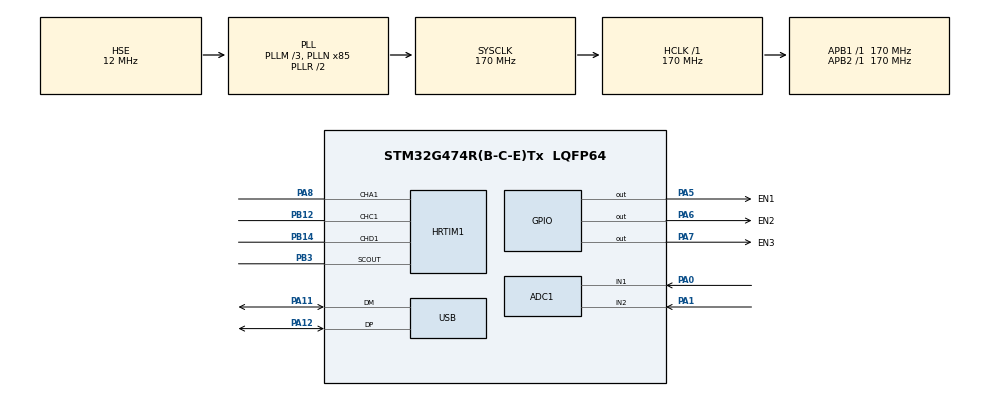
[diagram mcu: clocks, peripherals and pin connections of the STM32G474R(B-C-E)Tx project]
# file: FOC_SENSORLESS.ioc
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ADC1.Channel-0\#ChannelRegularConversion=ADC_CHANNEL_1
ADC1.Channel-1\#ChannelRegularConversion=ADC_CHANNEL_2
ADC1.Channel-4\#ChannelRegularConversion=ADC_CHANNEL_VREFINT
ADC1.EnableInjectedConversion=ENABLE
ADC1.EnableInjectedOversampling=DISABLE
ADC1.ExternalTrigInjecConv=ADC_EXTERNALTRIGINJEC_HRTIM_TRG4
ADC1.InjNumberOfConversion=2
ADC1.InjectedChannel-3\#ChannelInjectedConversion=ADC_CHANNEL_1
ADC1.InjectedChannel-5\#ChannelInjectedConversion=ADC_CHANNEL_2
ADC1.InjectedOffsetNumber-3\#ChannelInjectedConversion=ADC_OFFSET_NONE
ADC1.InjectedOffsetNumber-5\#ChannelInjectedConversion=ADC_OFFSET_NONE
ADC1.InjectedRank-3\#ChannelInjectedConversion=1
ADC1.InjectedRank-5\#ChannelInjectedConversion=2
ADC1.InjectedSamplingTime-3\#ChannelInjectedConversion=ADC_SAMPLETIME_12CYCLES_5
ADC1.InjectedSamplingTime-5\#ChannelInjectedConversion=ADC_SAMPLETIME_12CYCLES_5
ADC1.NbrOfConversion=3
ADC1.NbrOfConversionFlag=1
ADC1.OffsetNumber-0\#ChannelRegularConversion=ADC_OFFSET_NONE
ADC1.OffsetNumber-1\#ChannelRegularConversion=ADC_OFFSET_NONE
ADC1.OffsetNumber-4\#ChannelRegularConversion=ADC_OFFSET_NONE
ADC1.Rank-0\#ChannelRegularConversion=1
ADC1.Rank-1\#ChannelRegularConversion=2
ADC1.Rank-4\#ChannelRegularConversion=3
ADC1.Rank2_Channel=ADC_CHANNEL_2
ADC1.Rank3_Channel=ADC_CHANNEL_1
ADC1.SamplingTime-0\#ChannelRegularConversion=ADC_SAMPLETIME_47CYCLES_5
ADC1.SamplingTime-1\#ChannelRegularConversion=ADC_SAMPLETIME_47CYCLES_5
ADC1.SamplingTime-4\#ChannelRegularConversion=ADC_SAMPLETIME_47CYCLES_5
ADC1.master=1
Dma.ADC1.0.Direction=DMA_PERIPH_TO_MEMORY
Dma.ADC1.0.EventEnable=DISABLE
Dma.ADC1.0.Instance=DMA1_Channel1
Dma.ADC1.0.MemDataAlignment=DMA_MDATAALIGN_HALFWORD
Dma.ADC1.0.MemInc=DMA_MINC_ENABLE
Dma.ADC1.0.Mode=DMA_NORMAL
Dma.ADC1.0.PeriphDataAlignment=DMA_PDATAALIGN_HALFWORD
Dma.ADC1.0.PeriphInc=DMA_PINC_DISABLE
Dma.ADC1.0.Polarity=HAL_DMAMUX_REQ_GEN_RISING
Dma.ADC1.0.Priority=DMA_PRIORITY_LOW
Dma.ADC1.0.RequestNumber=1
Dma.ADC1.0.SignalID=NONE
Dma.ADC1.0.SyncEnable=DISABLE
Dma.ADC1.0.SyncPolarity=HAL_DMAMUX_SYNC_NO_EVENT
Dma.ADC1.0.SyncRequestNumber=1
Dma.ADC1.0.SyncSignalID=NONE
Dma.Request0=ADC1
HRTIM1.ADCTrigger4_Source1=HRTIM_ADCTRIGGEREVENT24_MASTER_PERIOD
HRTIM1.ADCTrigger4_Source2=HRTIM_ADCTRIGGEREVENT24_MASTER_PERIOD
HRTIM1.ADCTrigger_Id1=__NULL
HRTIM1.ADCTrigger_Id2=__NULL
HRTIM1.ADCTrigger_Id4=HRTIM_ADCTRIGGER_4
HRTIM1.Adrom_TA=HRTIM_TIM_ADROM_VALLEY
HRTIM1.Adrom_TC=HRTIM_TIM_ADROM_VALLEY
HRTIM1.Adrom_TD=HRTIM_TIM_ADROM_VALLEY
HRTIM1.CompareUnit1-MasterTimer=HRTIM_COMPAREUNIT_1
HRTIM1.CompareUnit1-Output_TA1=HRTIM_COMPAREUNIT_1
HRTIM1.CompareUnit1-Output_TC1=HRTIM_COMPAREUNIT_1
HRTIM1.CompareUnit1-Output_TD1=HRTIM_COMPAREUNIT_1
HRTIM1.CompareValue1-MasterTimer=10
HRTIM1.CompareValue1-Output_TA1=1000
HRTIM1.CompareValue1-Output_TC1=1000
HRTIM1.CompareValue1-Output_TD1=1000
HRTIM1.ModeTimeBase-Output_TA1=HRTIM_MODE_CONTINUOUS
HRTIM1.ModeTimeBase-Output_TC1=HRTIM_MODE_CONTINUOUS
HRTIM1.ModeTimeBase-Output_TD1=HRTIM_MODE_CONTINUOUS
HRTIM1.NumberADCTriggerSource4=2
HRTIM1.NumberResetSource1-Output_TA1=0
HRTIM1.NumberResetSource1-Output_TC1=0
HRTIM1.NumberResetSource1-Output_TD1=0
HRTIM1.NumberResetTrigger-Output_TA1=1
HRTIM1.NumberResetTrigger-Output_TC1=1
HRTIM1.NumberResetTrigger-Output_TD1=1
HRTIM1.NumberSetSource1-Output_TA1=1
HRTIM1.NumberSetSource1-Output_TC1=1
HRTIM1.NumberSetSource1-Output_TD1=1
HRTIM1.Outrom_TA=HRTIM_TIM_OUTROM_VALLEY
HRTIM1.Outrom_TC=HRTIM_TIM_OUTROM_VALLEY
HRTIM1.Outrom_TD=HRTIM_TIM_OUTROM_VALLEY
HRTIM1.Periode_MASTER=34000
HRTIM1.Periode_TA=34000
HRTIM1.Periode_TC=34000
HRTIM1.Periode_TD=34000
HRTIM1.Polarity1-Output_TA1=HRTIM_OUTPUTPOLARITY_HIGH
HRTIM1.Polarity1-Output_TC1=HRTIM_OUTPUTPOLARITY_HIGH
HRTIM1.Polarity1-Output_TD1=HRTIM_OUTPUTPOLARITY_HIGH
HRTIM1.PreloadEnable-Output_TA1=HRTIM_PRELOAD_ENABLED
HRTIM1.PreloadEnable-Output_TC1=HRTIM_PRELOAD_ENABLED
HRTIM1.PreloadEnable-Output_TD1=HRTIM_PRELOAD_ENABLED
HRTIM1.PrescalerRatio_MASTER=HRTIM_PRESCALERRATIO_MUL4
HRTIM1.PrescalerRatio_TA=HRTIM_PRESCALERRATIO_MUL8
HRTIM1.PrescalerRatio_TC=HRTIM_PRESCALERRATIO_MUL8
HRTIM1.PrescalerRatio_TD=HRTIM_PRESCALERRATIO_MUL8
HRTIM1.RepetitionUpdate-MasterTimer=HRTIM_UPDATEONREPETITION_ENABLED
HRTIM1.RepetitionUpdate-Output_TA1=HRTIM_UPDATEONREPETITION_ENABLED
HRTIM1.RepetitionUpdate-Output_TC1=HRTIM_UPDATEONREPETITION_ENABLED
HRTIM1.RepetitionUpdate-Output_TD1=HRTIM_UPDATEONREPETITION_ENABLED
HRTIM1.ResetTrigger1-Output_TA1=HRTIM_TIMRESETTRIGGER_MASTER_PER
HRTIM1.ResetTrigger1-Output_TC1=HRTIM_TIMRESETTRIGGER_MASTER_PER
HRTIM1.ResetTrigger1-Output_TD1=HRTIM_TIMRESETTRIGGER_MASTER_PER
HRTIM1.SetOutput1_Source1-Output_TA1=HRTIM_OUTPUTSET_TIMCMP1
HRTIM1.SetOutput1_Source1-Output_TC1=HRTIM_OUTPUTSET_TIMCMP1
HRTIM1.SetOutput1_Source1-Output_TD1=HRTIM_OUTPUTSET_TIMCMP1
HRTIM1.SyncOptions=HRTIM_SYNCOPTION_MASTER
HRTIM1.SyncOutputPolarity=HRTIM_SYNCOUTPUTPOLARITY_POSITIVE
HRTIM1.SyncOutputSource=HRTIM_SYNCOUTPUTSOURCE_MASTER_CMP1
HRTIM1.UpDownMode-Output_TA1=HRTIM_TIMERUPDOWNMODE_UPDOWN
HRTIM1.UpDownMode-Output_TC1=HRTIM_TIMERUPDOWNMODE_UPDOWN
HRTIM1.UpDownMode-Output_TD1=HRTIM_TIMERUPDOWNMODE_UPDOWN
HRTIM1.rom_TA=HRTIM_TIM_ROM_VALLEY
HRTIM1.rom_TC=HRTIM_TIM_ROM_VALLEY
HRTIM1.rom_TD=HRTIM_TIM_ROM_VALLEY
Mcu.Family=STM32G4
Mcu.Name=STM32G474R(B-C-E)Tx
Mcu.Package=LQFP64
NVIC.ADC1_2_IRQn=true\:0\:0\:false\:false\:true\:true\:true\:true
NVIC.DMA1_Channel1_IRQn=true\:2\:0\:true\:false\:true\:false\:true\:true
NVIC.PriorityGroup=NVIC_PRIORITYGROUP_4
NVIC.USB_LP_IRQn=true\:0\:0\:false\:false\:true\:false\:true\:true
PA0.Mode=IN1-Single-Ended
PA0.Signal=ADC1_IN1
PA1.Mode=IN2-Single-Ended
PA1.Signal=ADC1_IN2
PA11.Mode=Device
PA11.Signal=USB_DM
PA12.Mode=Device
PA12.Signal=USB_DP
PA13.Mode=Serial_Wire
PA13.Signal=SYS_JTMS-SWDIO
PA14.Mode=Serial_Wire
PA14.Signal=SYS_JTCK-SWCLK
PA5.GPIO_Label=EN1
PA5.Signal=GPIO_Output
PA6.GPIO_Label=EN2
PA6.Signal=GPIO_Output
PA7.GPIO_Label=EN3
PA7.Signal=GPIO_Output
PA8.Mode=Output_TA1
PA8.Signal=HRTIM1_CHA1
PB12.Mode=Output_TC1
PB12.Signal=HRTIM1_CHC1
PB14.Mode=Output_TD1
PB14.Signal=HRTIM1_CHD1
PB3.Mode=SCOUTmode
PB3.Signal=HRTIM1_SCOUT
PC14-OSC32_IN.Mode=LSE-External-Oscillator
PC14-OSC32_IN.Signal=RCC_OSC32_IN
PC15-OSC32_OUT.Mode=LSE-External-Oscillator
PC15-OSC32_OUT.Signal=RCC_OSC32_OUT
PF0-OSC_IN.Mode=HSE-External-Oscillator
PF0-OSC_IN.Signal=RCC_OSC_IN
PF1-OSC_OUT.Mode=HSE-External-Oscillator
PF1-OSC_OUT.Signal=RCC_OSC_OUT
ProjectManager.HeapSize=0x200
ProjectManager.StackSize=0x400
ProjectManager.TargetToolchain=CMake
RCC.ADC12Freq_Value=170000000
RCC.ADC345Freq_Value=170000000
RCC.AHBFreq_Value=170000000
RCC.APB1Freq_Value=170000000
RCC.APB1TimFreq_Value=170000000
RCC.APB2Freq_Value=170000000
RCC.APB2TimFreq_Value=170000000
RCC.CK48CLockSelection=RCC_USBCLKSOURCE_HSI48
RCC.CortexFreq_Value=170000000
RCC.EXTERNAL_CLOCK_VALUE=12288000
RCC.HCLKFreq_Value=170000000
RCC.HSE_VALUE=12000000
RCC.HSI48_VALUE=48000000
RCC.HSI_VALUE=16000000
RCC.PLLM=RCC_PLLM_DIV3
RCC.PLLN=85
RCC.PLLSourceVirtual=RCC_PLLSOURCE_HSE
RCC.SYSCLKFreq_VALUE=170000000
RCC.SYSCLKSource=RCC_SYSCLKSOURCE_PLLCLK
RCC.USBFreq_Value=48000000
RCC.VCOOutputFreq_Value=340000000
STMicroelectronics.X-CUBE-ALGOBUILD.1.4.0.LibraryCcDSPOoLibraryJjDSPOoLibrary=true
USB_DEVICE.CLASS_NAME_FS=CDC
USB_DEVICE.VirtualMode=Cdc
USB_DEVICE.VirtualModeFS=Cdc_FS
VP_ADC1_Vref_Input.Mode=IN-Vrefint
VP_CORDIC_VS_CORDIC.Mode=CORDIC_Activate
VP_HRTIM1_VS_hrtimMasterTimerNoOutput.Mode=MasterTimer
VP_STMicroelectronics.X-CUBE-ALGOBUILD_VS_DSPOoLibraryJjLibrary_1.4.0_1.4.0.Mode=DSPOoLibraryJjLibrary
VP_SYS_VS_DBSignals.Mode=DisableDeadBatterySignals
VP_USB_DEVICE_VS_USB_DEVICE_CDC_FS.Mode=CDC_FS
board=custom

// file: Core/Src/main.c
/* USER CODE BEGIN Header */
/**
  ******************************************************************************
  * @file           : main.c
  * @brief          : Main program body
  ******************************************************************************
  * @attention
  *
  * Copyright (c) 2025 STMicroelectronics.
  * All rights reserved.
  *
  * This software is licensed under terms that can be found in the LICENSE file
  * in the root directory of this software component.
  * If no LICENSE file comes with this software, it is provided AS-IS.
  *
  ******************************************************************************
  */
/* USER CODE END Header */
#include "main.h"
#include "adc.h"
#include "cordic.h"
#include "dma.h"
#include "hrtim.h"
#include "usb_device.h"
#include "gpio.h"

/* USER CODE BEGIN Includes */
#include <sys/types.h>

#include "other.h"
#include "PMSM_Control_Core/SVPWM.h"
#include "PMSM_Control_Core/Clarke_Park.h"
#include "PMSM_Control_Core/EKF.h"
#include "PMSM_Control_Core/PI_Controller.h"
#include "PMSM_Control_Core/Hardware.h"
#include "PMSM_Control_Core/FluxObserver_PLL.h"
/* USER CODE END Includes */

void SystemClock_Config(void);

int main(void)
{

  /* MCU Configuration--------------------------------------------------------*/

  /* Reset of all peripherals, Initializes the Flash interface and the Systick. */
  HAL_Init();

  /* Configure the system clock */
  SystemClock_Config();

  /* Initialize all configured peripherals */
  MX_GPIO_Init();
  MX_DMA_Init();
  MX_CORDIC_Init();
  MX_HRTIM1_Init();
  MX_ADC1_Init();
  MX_USB_Device_Init();
  /* USER CODE BEGIN 2 */

  //初始化EKF
  EKF_init();
  //初始化FluxObserver
  FluxObserver_init();
  //ADC单端输入校准
  __HAL_RCC_ADC12_CLK_ENABLE();
  if (HAL_ADCEx_Calibration_Start(&hadc1, ADC_SINGLE_ENDED) != HAL_OK)Error_Handler();
  //离线Ia,Ib,Vcc偏置ADC值校正
  Offline_IabVcc_Adjust();

  //给定D轴电流为0(事实上自动初始化为0，不需要人为给定)
  Id_PIstate.Set=0;
  //开启注入转换结束标志
  LL_ADC_EnableIT_JEOS(ADC1);
  // 启动ADC注入通道
  HAL_ADCEx_InjectedStart(&hadc1);

  //开启定时器
  HAL_HRTIM_WaveformCountStart(&hhrtim1,HRTIM_TIMERID_MASTER
    |HRTIM_TIMERID_TIMER_A|HRTIM_TIMERID_TIMER_C|HRTIM_TIMERID_TIMER_D);
  //开启通道输出，给定一个零矢量占空比
  HAL_HRTIM_WaveformOutputStart(&hhrtim1,
    HRTIM_OUTPUT_TA1|HRTIM_OUTPUT_TC1|HRTIM_OUTPUT_TD1);
  SVPWM_Calculate_Set(0,0,0,0,0);
  // EN引脚使能
  HAL_GPIO_WritePin(EN1_GPIO_Port,EN1_Pin,GPIO_PIN_SET);
  HAL_GPIO_WritePin(EN2_GPIO_Port,EN2_Pin,GPIO_PIN_SET);
  HAL_GPIO_WritePin(EN3_GPIO_Port,EN3_Pin,GPIO_PIN_SET);
  //测试：
  GiveESpeed(1000);
  /* USER CODE END 2 */

  /* Infinite loop */
  while (1)
  {

  }
}

void SystemClock_Config(void)
{
  RCC_OscInitTypeDef RCC_OscInitStruct = {0};
  RCC_ClkInitTypeDef RCC_ClkInitStruct = {0};

  /** Configure the main internal regulator output voltage
  */
  HAL_PWREx_ControlVoltageScaling(PWR_REGULATOR_VOLTAGE_SCALE1_BOOST);

  /** Initializes the RCC Oscillators according to the specified parameters
  * in the RCC_OscInitTypeDef structure.
  */
  RCC_OscInitStruct.OscillatorType = RCC_OSCILLATORTYPE_HSI48|RCC_OSCILLATORTYPE_HSE;
  RCC_OscInitStruct.HSEState = RCC_HSE_ON;
  RCC_OscInitStruct.HSI48State = RCC_HSI48_ON;
  RCC_OscInitStruct.PLL.PLLState = RCC_PLL_ON;
  RCC_OscInitStruct.PLL.PLLSource = RCC_PLLSOURCE_HSE;
  RCC_OscInitStruct.PLL.PLLM = RCC_PLLM_DIV3;
  RCC_OscInitStruct.PLL.PLLN = 85;
  RCC_OscInitStruct.PLL.PLLP = RCC_PLLP_DIV2;
  RCC_OscInitStruct.PLL.PLLQ = RCC_PLLQ_DIV2;
  RCC_OscInitStruct.PLL.PLLR = RCC_PLLR_DIV2;
  if (HAL_RCC_OscConfig(&RCC_OscInitStruct) != HAL_OK)
  {
    Error_Handler();
  }

  /** Initializes the CPU, AHB and APB buses clocks
  */
  RCC_ClkInitStruct.ClockType = RCC_CLOCKTYPE_HCLK|RCC_CLOCKTYPE_SYSCLK
                              |RCC_CLOCKTYPE_PCLK1|RCC_CLOCKTYPE_PCLK2;
  RCC_ClkInitStruct.SYSCLKSource = RCC_SYSCLKSOURCE_PLLCLK;
  RCC_ClkInitStruct.AHBCLKDivider = RCC_SYSCLK_DIV1;
  RCC_ClkInitStruct.APB1CLKDivider = RCC_HCLK_DIV1;
  RCC_ClkInitStruct.APB2CLKDivider = RCC_HCLK_DIV1;

  if (HAL_RCC_ClockConfig(&RCC_ClkInitStruct, FLASH_LATENCY_4) != HAL_OK)
  {
    Error_Handler();
  }
}

void Error_Handler(void)
{
  __disable_irq();
  while (1)
  {
  }
}
